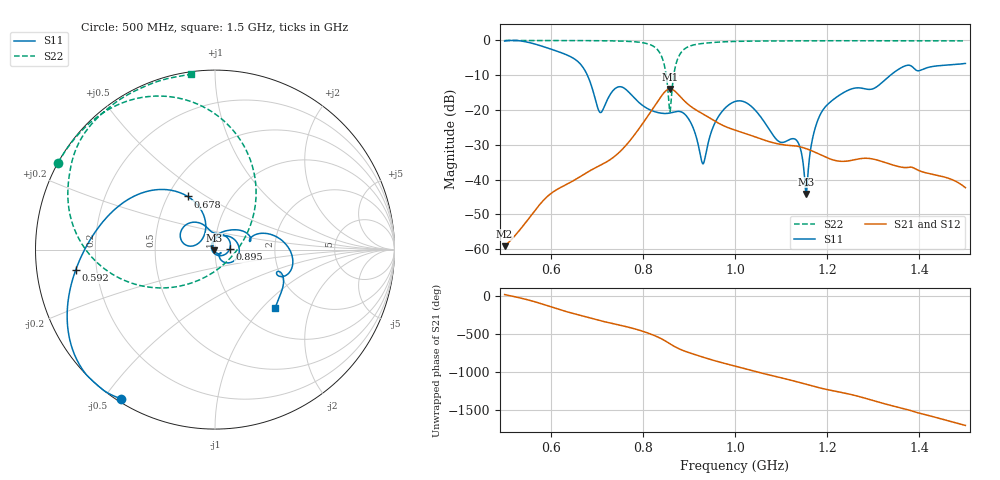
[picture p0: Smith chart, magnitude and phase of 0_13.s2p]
! TOUCHSTONE file generated by CST MICROWAVE STUDIO
! Date and time: Sat Oct 24 11:12:43 2020
! Project name: Scenario_1_Circular_Tissue_in_Line.cst
! Parameters = {L_HA=400; MT=2.54; Rad_Dielectric=30; Rad_Lower=7.3; Rad_Upper=30; a_HA=580; a_WG=246; b_HA=500; b_WG=121; c_HA=0; c_WG=187; d_feed=85; dx1=380.84; h_feed=15; h_lower=18; h_upper=40}
! Header version: 2018
! Port assignment regex: !\s*Touchstone port\s*([0-9]+)\s*=\s*(CST MWS port|CST DS port)\s*([0-9]+|Zmin|Zmax)\s*\(\"(.*)\"\)(\s*mode\s*([0-9]+))?.*
! Touchstone port assignment:
! Touchstone port 1 = CST MWS port 1 ("")
! Touchstone port 2 = CST MWS port 2 ("")
# GHz S DB R 50
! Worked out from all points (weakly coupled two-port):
!   1003 points, 500 MHz to 1.5 GHz, reference 50 ohm
!   highest |S21| = -13.93 dB at 859 MHz (marker M1); lowest = -59.2 dB at 500 MHz (marker M2)
!   lowest |S11| = -44.2 dB at 1.154 GHz (marker M3), VSWR 1.01, Z = 49.5 - j0.368 ohm
!   |S11| at or under -10 dB: 679.6 MHz to 1.337 GHz (657.6 MHz wide, 65.2 % of centre)
!   |S22| runs from -20.5 to 0.0 dB; largest |S21 - S12| = 3.4e-05
!   S11 on the Smith chart (normalised r, x): 500 MHz: 0.01, -0.55; 592 MHz: 0.12, -0.07; 678 MHz: 0.63, +0.42; 895 MHz: 1.18, +0.01; 1.5 GHz: 1.43, -1.19
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0.5  -0.16 -122.2  -59.15 13.6  -59.15 13.6  -0.01 151.1
0.592  -2.11 -171.7  -44.96 -130.9  -44.96 -130.9  -0.02 144.7
0.667  -7.18 130.0  -38.91 97.2  -38.91 97.2  -0.04 138.4
0.678  -9.54 117.3  -38.01 79.3  -38.01 79.3  -0.05 137.3
0.707  -20.69 139.4  -35.94 33.1  -35.94 33.1  -0.07 134.0
0.75  -13.29 147.5  -32.02 -26.3  -32.02 -26.3  -0.17 127.5
0.8  -18.74 106.3  -23.81 -106.9  -23.81 -106.9  -0.66 113.0
0.834  -20.77 91.4  -17.17 174.3  -17.17 174.3  -3.01 84.9
0.848  -21.00 81.6  -14.72 130.2  -14.72 130.2  -7.95 55.1
0.859  -20.85 71.2  -13.93 89.6  -13.93 89.6  -20.51 -53.0
0.874  -20.41 49.3  -15.14 37.9  -15.14 37.9  -5.89 -158.8
0.895  -21.77 2.1  -17.99 -14.7  -17.99 -14.7  -2.04 171.8
0.931  -35.45 -158.1  -21.18 -85.4  -21.18 -85.4  -0.84 153.7
0.96  -22.78 76.9  -23.47 -137.7  -23.47 -137.7  -0.51 146.9
1  -17.56 10.3  -25.78 158.5  -25.78 158.5  -0.28 140.4
1.095  -29.04 -45.0  -29.78 13.1  -29.78 13.1  -0.13 130.1
1.133  -28.64 -37.9  -30.35 -44.4  -30.35 -44.4  -0.11 127.0
1.154  -44.17 -143.1  -31.10 -79.4  -31.10 -79.4  -0.10 125.3
1.167  -29.04 106.4  -31.75 -100.3  -31.75 -100.3  -0.09 124.2
1.207  -17.68 55.2  -34.10 -157.1  -34.10 -157.1  -0.08 121.1
1.334  -10.36 17.1  -35.46 11.2  -35.46 11.2  -0.08 111.5
1.5  -6.61 -44.1  -42.33 103.2  -42.31 102.9  -0.13 97.9
